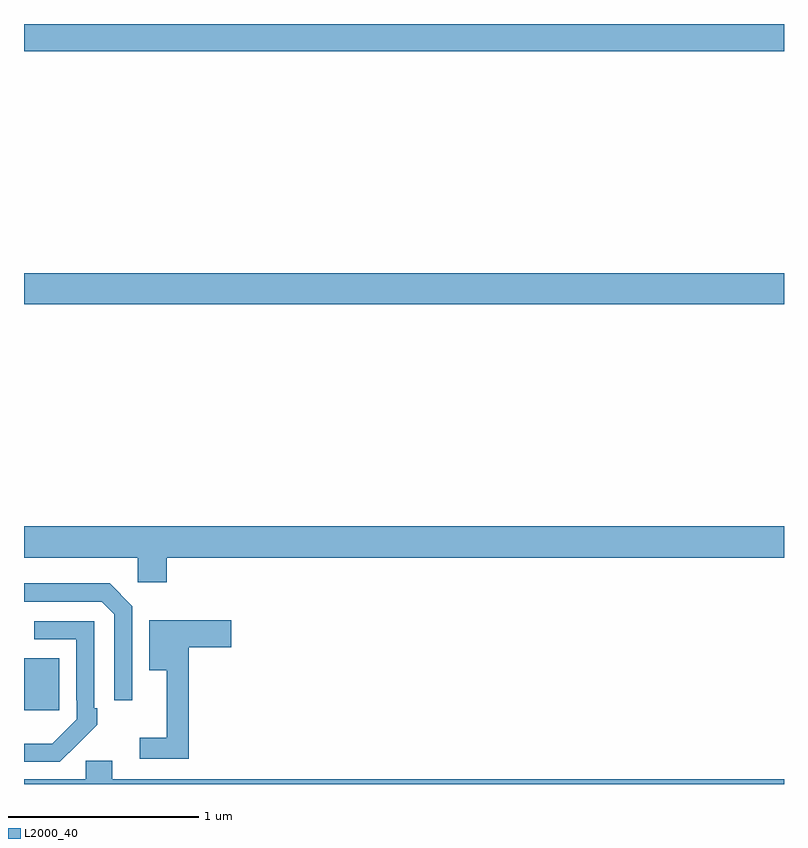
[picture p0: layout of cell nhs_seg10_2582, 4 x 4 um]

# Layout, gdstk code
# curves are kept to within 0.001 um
import gdstk
lib = gdstk.Library(unit=1e-6, precision=1e-09)
def R(c, l, rs):  # rectangles x0, y0, x1, y1
    for r in rs: c.add(gdstk.rectangle(r[:2], r[2:], *l))
def P(c, l, *ps):  # polygons
    for p in ps: c.add(gdstk.Polygon(p, *l))
L2000_40 = (2000, 40)

nhs_seg10_2582 = lib.new_cell('nhs_seg10_2582')
R(nhs_seg10_2582, L2000_40, [(251,1256.889,251.185,1257.163), (251,1259.024,255,1259.188), (251,1260.356,255,1260.5)])
P(nhs_seg10_2582, L2000_40, [(251.75,1257.692),(255,1257.692),(255,1257.856),(251,1257.856),(251,1257.692),(251.598,1257.692),(251.598,1257.561),(251.75,1257.561)],
  [(251.571,1257.435),(251.45,1257.556),(251,1257.556),(251,1257.459),(251.409,1257.459),(251.475,1257.393),(251.475,1256.94),(251.571,1256.94)],
  [(251.867,1257.221),(252.091,1257.221),(252.091,1257.363),(251.66,1257.363),(251.66,1257.098),(251.75,1257.098),(251.75,1256.743),(251.61,1256.743),(251.61,1256.634),(251.867,1256.634)],
  [(251.279,1256.707),(251.28,1256.706),(251.385,1256.811),(251.385,1256.899),(251.37,1256.899),(251.37,1257.357),(251.055,1257.357),(251.055,1257.261),(251.274,1257.261),(251.274,1256.941),(251.277,1256.941),(251.277,1256.841),(251.149,1256.713),(251,1256.712),(251,1256.616),(251.188,1256.616)],
  [(255,1256.524),(251.464,1256.524),(251.464,1256.622),(251.325,1256.622),(251.325,1256.524),(251,1256.524),(251,1256.5),(255,1256.5)])

lib.write_gds('nhs_seg10_2582.gds')
